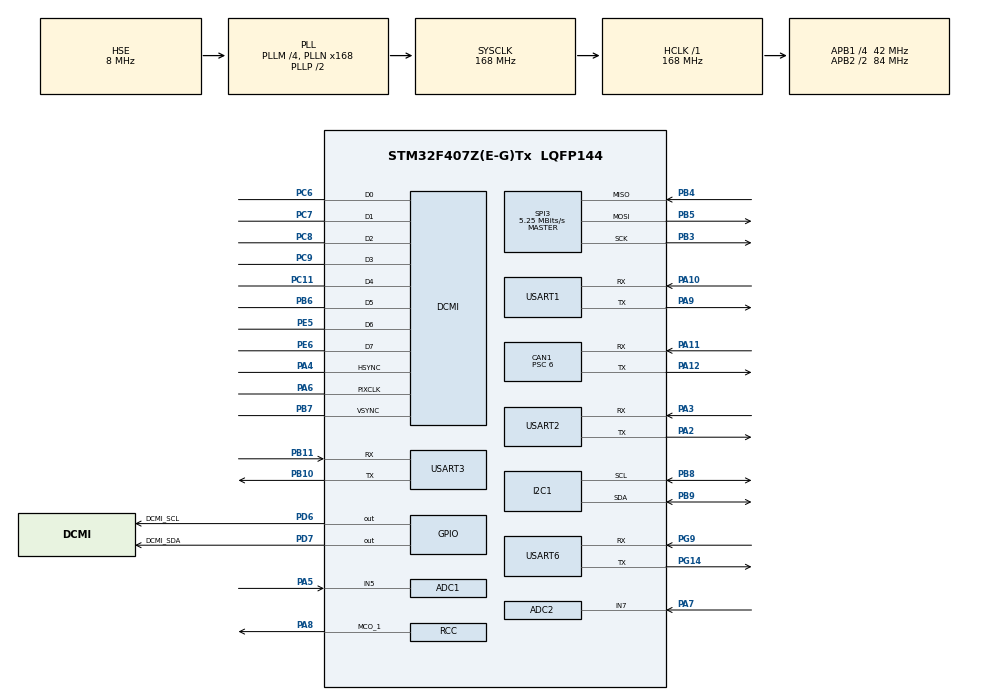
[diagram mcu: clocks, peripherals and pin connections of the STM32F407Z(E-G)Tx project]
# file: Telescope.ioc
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ADC1.Channel-1\#ChannelRegularConversion=ADC_CHANNEL_5
ADC1.ClockPrescaler=ADC_CLOCK_SYNC_PCLK_DIV8
ADC1.ContinuousConvMode=ENABLE
ADC1.NbrOfConversionFlag=1
ADC1.Rank-1\#ChannelRegularConversion=1
ADC1.SamplingTime-1\#ChannelRegularConversion=ADC_SAMPLETIME_480CYCLES
ADC1.master=1
ADC2.Channel-0\#ChannelRegularConversion=ADC_CHANNEL_7
ADC2.ClockPrescaler=ADC_CLOCK_SYNC_PCLK_DIV8
ADC2.ContinuousConvMode=ENABLE
ADC2.DMAContinuousRequests=ENABLE
ADC2.EOCSelection=ADC_EOC_SINGLE_CONV
ADC2.NbrOfConversion=1
ADC2.NbrOfConversionFlag=1
ADC2.Rank-0\#ChannelRegularConversion=1
ADC2.SamplingTime-0\#ChannelRegularConversion=ADC_SAMPLETIME_480CYCLES
CAN1.ABOM=ENABLE
CAN1.AWUM=ENABLE
CAN1.BS1=CAN_BS1_13TQ
CAN1.BS2=CAN_BS2_2TQ
CAN1.CalculateBaudRate=437500
CAN1.CalculateTimeBit=2285
CAN1.CalculateTimeQuantum=142.85714285714286
CAN1.NART=ENABLE
CAN1.Prescaler=6
CAN1.TXFP=ENABLE
DCMI.JPEGMode=DCMI_JPEG_DISABLE
DCMI.PCKPolarity=DCMI_PCKPOLARITY_RISING
Dma.ADC1.2.Direction=DMA_PERIPH_TO_MEMORY
Dma.ADC1.2.FIFOMode=DMA_FIFOMODE_DISABLE
Dma.ADC1.2.Instance=DMA2_Stream0
Dma.ADC1.2.MemDataAlignment=DMA_MDATAALIGN_HALFWORD
Dma.ADC1.2.MemInc=DMA_MINC_ENABLE
Dma.ADC1.2.Mode=DMA_CIRCULAR
Dma.ADC1.2.PeriphDataAlignment=DMA_PDATAALIGN_HALFWORD
Dma.ADC1.2.PeriphInc=DMA_PINC_DISABLE
Dma.ADC1.2.Priority=DMA_PRIORITY_MEDIUM
Dma.ADC2.0.Direction=DMA_PERIPH_TO_MEMORY
Dma.ADC2.0.FIFOMode=DMA_FIFOMODE_DISABLE
Dma.ADC2.0.Instance=DMA2_Stream3
Dma.ADC2.0.MemDataAlignment=DMA_MDATAALIGN_HALFWORD
Dma.ADC2.0.MemInc=DMA_MINC_ENABLE
Dma.ADC2.0.Mode=DMA_CIRCULAR
Dma.ADC2.0.PeriphDataAlignment=DMA_PDATAALIGN_HALFWORD
Dma.ADC2.0.PeriphInc=DMA_PINC_DISABLE
Dma.ADC2.0.Priority=DMA_PRIORITY_MEDIUM
Dma.DCMI.1.Direction=DMA_PERIPH_TO_MEMORY
Dma.DCMI.1.FIFOMode=DMA_FIFOMODE_ENABLE
Dma.DCMI.1.FIFOThreshold=DMA_FIFO_THRESHOLD_FULL
Dma.DCMI.1.Instance=DMA2_Stream1
Dma.DCMI.1.MemBurst=DMA_MBURST_SINGLE
Dma.DCMI.1.MemDataAlignment=DMA_MDATAALIGN_WORD
Dma.DCMI.1.MemInc=DMA_MINC_ENABLE
Dma.DCMI.1.Mode=DMA_CIRCULAR
Dma.DCMI.1.PeriphBurst=DMA_PBURST_SINGLE
Dma.DCMI.1.PeriphDataAlignment=DMA_PDATAALIGN_WORD
Dma.DCMI.1.PeriphInc=DMA_PINC_DISABLE
Dma.DCMI.1.Priority=DMA_PRIORITY_VERY_HIGH
Dma.Request0=ADC2
Dma.Request1=DCMI
Dma.Request2=ADC1
Dma.Request3=SPI3_RX
Dma.Request4=SPI3_TX
Dma.SPI3_RX.3.Direction=DMA_PERIPH_TO_MEMORY
Dma.SPI3_RX.3.FIFOMode=DMA_FIFOMODE_DISABLE
Dma.SPI3_RX.3.Instance=DMA1_Stream2
Dma.SPI3_RX.3.MemDataAlignment=DMA_MDATAALIGN_BYTE
Dma.SPI3_RX.3.MemInc=DMA_MINC_ENABLE
Dma.SPI3_RX.3.Mode=DMA_NORMAL
Dma.SPI3_RX.3.PeriphDataAlignment=DMA_PDATAALIGN_BYTE
Dma.SPI3_RX.3.PeriphInc=DMA_PINC_DISABLE
Dma.SPI3_RX.3.Priority=DMA_PRIORITY_HIGH
Dma.SPI3_TX.4.Direction=DMA_MEMORY_TO_PERIPH
Dma.SPI3_TX.4.FIFOMode=DMA_FIFOMODE_DISABLE
Dma.SPI3_TX.4.Instance=DMA1_Stream7
Dma.SPI3_TX.4.MemDataAlignment=DMA_MDATAALIGN_BYTE
Dma.SPI3_TX.4.MemInc=DMA_MINC_ENABLE
Dma.SPI3_TX.4.Mode=DMA_NORMAL
Dma.SPI3_TX.4.PeriphDataAlignment=DMA_PDATAALIGN_BYTE
Dma.SPI3_TX.4.PeriphInc=DMA_PINC_DISABLE
Dma.SPI3_TX.4.Priority=DMA_PRIORITY_HIGH
FREERTOS.INCLUDE_xTaskGetHandle=1
FREERTOS.Tasks01=defaultTask,24,256,StartDefaultTask,Default,NULL,Dynamic,NULL,NULL
FREERTOS.configCHECK_FOR_STACK_OVERFLOW=2
FREERTOS.configENABLE_FPU=1
FREERTOS.configGENERATE_RUN_TIME_STATS=1
FREERTOS.configMINIMAL_STACK_SIZE=256
FREERTOS.configQUEUE_REGISTRY_SIZE=10
FREERTOS.configTIMER_TASK_PRIORITY=3
FREERTOS.configTOTAL_HEAP_SIZE=60000
FREERTOS.configUSE_IDLE_HOOK=1
FREERTOS.configUSE_MALLOC_FAILED_HOOK=1
FREERTOS.configUSE_TICKLESS_IDLE=1
I2C1.GeneralCallMode=I2C_GENERALCALL_DISABLE
I2C1.I2C_Mode=I2C_Standard
IWDG.Prescaler=IWDG_PRESCALER_128
IWDG.Reload=999
Mcu.Family=STM32F4
Mcu.Name=STM32F407Z(E-G)Tx
Mcu.Package=LQFP144
NVIC.CAN1_RX0_IRQn=true\:6\:0\:true\:false\:true\:true\:true\:true\:true
NVIC.CAN1_SCE_IRQn=true\:5\:0\:false\:false\:true\:true\:true\:true\:true
NVIC.CAN1_TX_IRQn=true\:7\:0\:true\:false\:true\:true\:true\:true\:true
NVIC.DCMI_IRQn=true\:5\:0\:false\:false\:true\:true\:true\:true\:true
NVIC.DMA1_Stream2_IRQn=true\:5\:0\:false\:false\:true\:false\:false\:true\:true
NVIC.DMA1_Stream7_IRQn=true\:5\:0\:false\:false\:true\:true\:false\:true\:true
NVIC.DMA2_Stream0_IRQn=true\:9\:0\:true\:false\:true\:true\:false\:true\:true
NVIC.DMA2_Stream1_IRQn=true\:5\:0\:false\:false\:true\:true\:false\:true\:true
NVIC.DMA2_Stream3_IRQn=true\:9\:0\:true\:false\:true\:false\:false\:true\:true
NVIC.I2C1_ER_IRQn=true\:8\:0\:true\:false\:true\:true\:true\:true\:true
NVIC.I2C1_EV_IRQn=true\:8\:0\:true\:false\:true\:true\:true\:true\:true
NVIC.PriorityGroup=NVIC_PRIORITYGROUP_4
NVIC.RTC_Alarm_IRQn=true\:10\:0\:true\:false\:true\:true\:true\:true\:true
NVIC.SPI3_IRQn=true\:7\:0\:true\:false\:true\:true\:true\:true\:true
NVIC.TIM6_DAC_IRQn=true\:12\:0\:true\:false\:true\:false\:false\:true\:true
NVIC.TimeBase=TIM6_DAC_IRQn
NVIC.TimeBaseIP=TIM6
NVIC.USART1_IRQn=true\:6\:0\:true\:false\:true\:true\:false\:true\:true
NVIC.USART2_IRQn=true\:6\:0\:true\:false\:true\:true\:false\:true\:true
NVIC.USART3_IRQn=true\:6\:0\:true\:false\:true\:true\:false\:true\:true
NVIC.USART6_IRQn=true\:6\:0\:true\:false\:true\:true\:false\:true\:true
PA10.Mode=Asynchronous
PA10.Signal=USART1_RX
PA11.Mode=CAN_Activate
PA11.Signal=CAN1_RX
PA12.Mode=CAN_Activate
PA12.Signal=CAN1_TX
PA13.Mode=Serial_Wire
PA13.Signal=SYS_JTMS-SWDIO
PA14.Mode=Serial_Wire
PA14.Signal=SYS_JTCK-SWCLK
PA2.Mode=Asynchronous
PA2.Signal=USART2_TX
PA3.Mode=Asynchronous
PA3.Signal=USART2_RX
PA4.Mode=Slave_8_bits_External_Synchro
PA4.Signal=DCMI_HSYNC
PA5.Signal=ADCx_IN5
PA6.Mode=Slave_8_bits_External_Synchro
PA6.Signal=DCMI_PIXCLK
PA7.Signal=ADCx_IN7
PA8.GPIO_Speed=GPIO_SPEED_FREQ_VERY_HIGH
PA8.Mode=Clock-out-1
PA8.Signal=RCC_MCO_1
PA9.Mode=Asynchronous
PA9.Signal=USART1_TX
PB10.Mode=Asynchronous
PB10.Signal=USART3_TX
PB11.Mode=Asynchronous
PB11.Signal=USART3_RX
PB3.Mode=Full_Duplex_Master
PB3.Signal=SPI3_SCK
PB4.Mode=Full_Duplex_Master
PB4.Signal=SPI3_MISO
PB5.Mode=Full_Duplex_Master
PB5.Signal=SPI3_MOSI
PB6.Mode=Slave_8_bits_External_Synchro
PB6.Signal=DCMI_D5
PB7.Mode=Slave_8_bits_External_Synchro
PB7.Signal=DCMI_VSYNC
PB8.GPIO_Pu=GPIO_NOPULL
PB8.Mode=I2C
PB8.Signal=I2C1_SCL
PB9.GPIO_Pu=GPIO_NOPULL
PB9.Mode=I2C
PB9.Signal=I2C1_SDA
PC11.Mode=Slave_8_bits_External_Synchro
PC11.Signal=DCMI_D4
PC14-OSC32_IN.Mode=LSE-External-Oscillator
PC14-OSC32_IN.Signal=RCC_OSC32_IN
PC15-OSC32_OUT.Mode=LSE-External-Oscillator
PC15-OSC32_OUT.Signal=RCC_OSC32_OUT
PC6.Mode=Slave_8_bits_External_Synchro
PC6.Signal=DCMI_D0
PC7.Mode=Slave_8_bits_External_Synchro
PC7.Signal=DCMI_D1
PC8.Mode=Slave_8_bits_External_Synchro
PC8.Signal=DCMI_D2
PC9.Mode=Slave_8_bits_External_Synchro
PC9.Signal=DCMI_D3
PD6.GPIO_Label=DCMI_SCL
PD6.GPIO_ModeDefaultOutputPP=GPIO_MODE_OUTPUT_OD
PD6.GPIO_PuPd=GPIO_PULLUP
PD6.GPIO_Speed=GPIO_SPEED_FREQ_VERY_HIGH
PD6.PinState=GPIO_PIN_SET
PD6.Signal=GPIO_Output
PD7.GPIO_Label=DCMI_SDA
PD7.GPIO_ModeDefaultOutputPP=GPIO_MODE_OUTPUT_OD
PD7.GPIO_PuPd=GPIO_PULLUP
PD7.GPIO_Speed=GPIO_SPEED_FREQ_VERY_HIGH
PD7.PinState=GPIO_PIN_SET
PD7.Signal=GPIO_Output
PE5.Mode=Slave_8_bits_External_Synchro
PE5.Signal=DCMI_D6
PE6.Mode=Slave_8_bits_External_Synchro
PE6.Signal=DCMI_D7
PF6.Signal=S_TIM10_CH1
PF8.Signal=S_TIM13_CH1
PG14.Mode=Asynchronous
PG14.Signal=USART6_TX
PG9.Mode=Asynchronous
PG9.Signal=USART6_RX
PH0-OSC_IN.Mode=HSE-External-Oscillator
PH0-OSC_IN.Signal=RCC_OSC_IN
PH1-OSC_OUT.Mode=HSE-External-Oscillator
PH1-OSC_OUT.Signal=RCC_OSC_OUT
ProjectManager.HeapSize=0x200
ProjectManager.StackSize=0x400
ProjectManager.TargetToolchain=CMake
RCC.48MHZClocksFreq_Value=48000000
RCC.AHBFreq_Value=168000000
RCC.APB1CLKDivider=RCC_HCLK_DIV4
RCC.APB1Freq_Value=42000000
RCC.APB1TimFreq_Value=84000000
RCC.APB2CLKDivider=RCC_HCLK_DIV2
RCC.APB2Freq_Value=84000000
RCC.APB2TimFreq_Value=168000000
RCC.CortexFreq_Value=168000000
RCC.EnbaleCSS=true
RCC.HCLKFreq_Value=168000000
RCC.HSE_VALUE=8000000
RCC.HSI_VALUE=16000000
RCC.PLLM=4
RCC.PLLN=168
RCC.PLLQ=7
RCC.PLLSourceVirtual=RCC_PLLSOURCE_HSE
RCC.RCC_RTC_Clock_Source=RCC_RTCCLKSOURCE_LSE
RCC.RCC_RTC_Clock_SourceVirtual=RCC_RTCCLKSOURCE_LSE
RCC.RCC_RTC_Clock_Source_FROM_HSE=RCC_RTCCLKSOURCE_HSE_DIV9
RCC.SYSCLKFreq_VALUE=168000000
RCC.SYSCLKSource=RCC_SYSCLKSOURCE_PLLCLK
RCC.VCOOutputFreq_Value=336000000
RTC.Alarm=RTC_ALARM_A
RTC.AlarmDateWeekDaySel_B=RTC_ALARMDATEWEEKDAYSEL_DATE
RTC.AlarmMaskDateWeekDay=RTC_ALARMMASK_DATEWEEKDAY
RTC.AlarmMaskDateWeekDay_B=RTC_ALARMMASK_DATEWEEKDAY
RTC.AlarmMaskHours=RTC_ALARMMASK_HOURS
RTC.AlarmMaskMinutes=RTC_ALARMMASK_MINUTES
RTC.Alarm_B=RTC_ALARM_B
RTC.Hours_A=0
RTC.Hours_B=7
RTC.Seconds_A=1
SH.ADCx_IN5.0=ADC1_IN5,IN5
SH.ADCx_IN7.0=ADC2_IN7,IN7
SH.S_TIM10_CH1.0=TIM10_CH1
SH.S_TIM13_CH1.0=TIM13_CH1
SPI3.BaudRatePrescaler=SPI_BAUDRATEPRESCALER_8
SPI3.CRCCalculation=SPI_CRCCALCULATION_DISABLE
SPI3.CalculateBaudRate=5.25 MBits/s
SPI3.Direction=SPI_DIRECTION_2LINES
SPI3.Mode=SPI_MODE_MASTER
SPI3.VirtualType=VM_MASTER
USART1.VirtualMode=VM_ASYNC
USART2.VirtualMode=VM_ASYNC
USART3.VirtualMode=VM_ASYNC
USART6.VirtualMode=VM_ASYNC
VP_CRC_VS_CRC.Mode=CRC_Activate
VP_FREERTOS_VS_CMSIS_V2.Mode=CMSIS_V2
VP_IWDG_VS_IWDG.Mode=IWDG_Activate
VP_RNG_VS_RNG.Mode=RNG_Activate
VP_RTC_VS_RTC_Activate.Mode=RTC_Enabled
VP_RTC_VS_RTC_Alarm_A_Intern.Mode=Alarm A
VP_RTC_VS_RTC_Alarm_B_Intern.Mode=Alarm B
VP_RTC_VS_RTC_Calendar.Mode=RTC_Calendar
VP_SYS_VS_tim6.Mode=TIM6
board=custom

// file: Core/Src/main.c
/* USER CODE BEGIN Header */
/**
  ******************************************************************************
  * @file           : main.c
  * @brief          : Main program body
  ******************************************************************************
  * @attention
  *
  * Copyright (c) 2026 STMicroelectronics.
  * All rights reserved.
  *
  * This software is licensed under terms that can be found in the LICENSE file
  * in the root directory of this software component.
  * If no LICENSE file comes with this software, it is provided AS-IS.
  *
  ******************************************************************************
  */
/* USER CODE END Header */
#include "main.h"
#include "cmsis_os2.h"
#include "adc.h"
#include "can.h"
#include "crc.h"
#include "dcmi.h"
#include "dma.h"
#include "i2c.h"
#include "iwdg.h"
#include "rng.h"
#include "rtc.h"
#include "spi.h"
#include "usart.h"
#include "gpio.h"

/* USER CODE BEGIN Includes */
#include "sram.h"
/* USER CODE END Includes */

void SystemClock_Config(void);
void MX_FREERTOS_Init(void);

int main(void)
{

  /* MCU Configuration--------------------------------------------------------*/

  /* Reset of all peripherals, Initializes the Flash interface and the Systick. */
  HAL_Init();

  /* Configure the system clock */
  SystemClock_Config();

  /* Initialize all configured peripherals */
  MX_GPIO_Init();
  MX_DMA_Init();
  MX_I2C1_Init();
  MX_IWDG_Init();
  MX_RTC_Init();
  MX_SPI3_Init();
  MX_USART1_UART_Init();
  MX_USART2_UART_Init();
  MX_USART3_UART_Init();
  MX_USART6_UART_Init();
  MX_ADC1_Init();
  MX_ADC2_Init();
  MX_CRC_Init();
  MX_DCMI_Init();
  MX_RNG_Init();
  MX_CAN1_Init();
  /* USER CODE BEGIN 2 */
  SRAM_Init();
  /* USER CODE END 2 */

  /* Init scheduler */
  osKernelInitialize();

  /* Call init function for freertos objects (in cmsis_os2.c) */
  MX_FREERTOS_Init();

  /* Start scheduler */
  osKernelStart();

  /* We should never get here as control is now taken by the scheduler */

  /* Infinite loop */
  while (1)
  {

  }
}

void SystemClock_Config(void)
{
  RCC_OscInitTypeDef RCC_OscInitStruct = {0};
  RCC_ClkInitTypeDef RCC_ClkInitStruct = {0};

  /** Configure the main internal regulator output voltage
  */
  __HAL_RCC_PWR_CLK_ENABLE();
  __HAL_PWR_VOLTAGESCALING_CONFIG(PWR_REGULATOR_VOLTAGE_SCALE1);

  /** Initializes the RCC Oscillators according to the specified parameters
  * in the RCC_OscInitTypeDef structure.
  */
  RCC_OscInitStruct.OscillatorType = RCC_OSCILLATORTYPE_HSI|RCC_OSCILLATORTYPE_LSI
                              |RCC_OSCILLATORTYPE_HSE|RCC_OSCILLATORTYPE_LSE;
  RCC_OscInitStruct.HSEState = RCC_HSE_ON;
  RCC_OscInitStruct.LSEState = RCC_LSE_ON;
  RCC_OscInitStruct.HSIState = RCC_HSI_ON;
  RCC_OscInitStruct.HSICalibrationValue = RCC_HSICALIBRATION_DEFAULT;
  RCC_OscInitStruct.LSIState = RCC_LSI_ON;
  RCC_OscInitStruct.PLL.PLLState = RCC_PLL_ON;
  RCC_OscInitStruct.PLL.PLLSource = RCC_PLLSOURCE_HSE;
  RCC_OscInitStruct.PLL.PLLM = 4;
  RCC_OscInitStruct.PLL.PLLN = 168;
  RCC_OscInitStruct.PLL.PLLP = RCC_PLLP_DIV2;
  RCC_OscInitStruct.PLL.PLLQ = 7;
  if (HAL_RCC_OscConfig(&RCC_OscInitStruct) != HAL_OK)
  {
    Error_Handler();
  }

  /** Initializes the CPU, AHB and APB buses clocks
  */
  RCC_ClkInitStruct.ClockType = RCC_CLOCKTYPE_HCLK|RCC_CLOCKTYPE_SYSCLK
                              |RCC_CLOCKTYPE_PCLK1|RCC_CLOCKTYPE_PCLK2;
  RCC_ClkInitStruct.SYSCLKSource = RCC_SYSCLKSOURCE_PLLCLK;
  RCC_ClkInitStruct.AHBCLKDivider = RCC_SYSCLK_DIV1;
  RCC_ClkInitStruct.APB1CLKDivider = RCC_HCLK_DIV4;
  RCC_ClkInitStruct.APB2CLKDivider = RCC_HCLK_DIV2;

  if (HAL_RCC_ClockConfig(&RCC_ClkInitStruct, FLASH_LATENCY_5) != HAL_OK)
  {
    Error_Handler();
  }
  HAL_RCC_MCOConfig(RCC_MCO1, RCC_MCO1SOURCE_HSI, RCC_MCODIV_1);

  /** Enables the Clock Security System
  */
  HAL_RCC_EnableCSS();
}

void HAL_TIM_PeriodElapsedCallback(TIM_HandleTypeDef *htim)
{
  if (htim->Instance == TIM6) {
    HAL_IncTick();
  }
}

void Error_Handler(void)
{
  __disable_irq();
  while (1)
  {
  }
}

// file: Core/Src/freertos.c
/* USER CODE BEGIN Header */
/**
  ******************************************************************************
  * File Name          : freertos.c
  * Description        : Code for freertos applications
  ******************************************************************************
  * @attention
  *
  * Copyright (c) 2026 STMicroelectronics.
  * All rights reserved.
  *
  * This software is licensed under terms that can be found in the LICENSE file
  * in the root directory of this software component.
  * If no LICENSE file comes with this software, it is provided AS-IS.
  *
  ******************************************************************************
  */
/* USER CODE END Header */

#include "FreeRTOS.h"
#include "cmsis_os2.h"
#include "task.h"
#include "main.h"
#include "cmsis_os.h"

/* USER CODE BEGIN Includes */
#include "tftlcd.h"
#include "iwdg.h"
#include "getdata.h"
#include "ui.h"
#include "usart2task.h"
#include "cameratask.h"
#include "sram.h"
#include "eeprom.h"
#include "flash.h"
#include <stdio.h>

/* USER CODE END Includes */

/* USER CODE BEGIN Variables */
osThreadId_t lcdTaskHandle;
const osThreadAttr_t lcdTask_attributes = {
  .name = "lcdTask",
  .stack_size = 512 * 4,
  .priority = (osPriority_t) osPriorityNormal,
};

osThreadId_t iwdgTaskHandle;
const osThreadAttr_t iwdgTask_attributes = {
  .name = "iwdgTask",
  .stack_size = 128 * 4,
  .priority = (osPriority_t) osPriorityHigh,
};

osThreadId_t getdataTaskHandle;
const osThreadAttr_t getdataTask_attributes = {
  .name = "getdataTask",
  .stack_size = 256 * 4,
  .priority = (osPriority_t) osPriorityNormal,
};

osThreadId_t usart2TaskHandle;
const osThreadAttr_t usart2Task_attributes = {
  .name = "usart2Task",
  .stack_size = 256 * 4,
  .priority = (osPriority_t) osPriorityNormal,
};

osThreadId_t usart3TaskHandle;
const osThreadAttr_t usart3Task_attributes = {
  .name = "usart3Task",
  .stack_size = 256 * 4,
  .priority = (osPriority_t) osPriorityNormal,
};

osThreadId_t cameraTaskHandle;
const osThreadAttr_t cameraTask_attributes = {
  .name = "cameraTask",
  .stack_size = 512 * 4,
  .priority = (osPriority_t) osPriorityHigh,
};

osThreadId_t sramTestTaskHandle;
const osThreadAttr_t sramTestTask_attributes = {
  .name = "sramTestTask",
  .stack_size = 256 * 4,
  .priority = (osPriority_t) osPriorityBelowNormal,
};

osThreadId_t eepromTestTaskHandle;
const osThreadAttr_t eepromTestTask_attributes = {
  .name = "eepromTestTask",
  .stack_size = 256 * 4,
  .priority = (osPriority_t) osPriorityBelowNormal,
};

osThreadId_t flashTestTaskHandle;
const osThreadAttr_t flashTestTask_attributes = {
  .name = "flashTestTask",
  .stack_size = 512 * 4,
  .priority = (osPriority_t) osPriorityBelowNormal,
};

/* USER CODE END Variables */
/* Definitions for defaultTask */
osThreadId_t defaultTaskHandle;
const osThreadAttr_t defaultTask_attributes = {
  .name = "defaultTask",
  .stack_size = 256 * 4,
  .priority = (osPriority_t) osPriorityNormal,
};

/* USER CODE BEGIN FunctionPrototypes */
void LcdDisplayTask(void *argument);
void IwdgFeedTask(void *argument);
void GetDataTask(void *argument);
void Usart2Task(void *argument);
void Usart3Task(void *argument);

void CameraTask(void *argument);
void SramTestTask(void *argument);
void EepromTestTask(void *argument);
void FlashTestTask(void *argument);

void StartDefaultTask(void *argument);

void MX_FREERTOS_Init(void); /* (MISRA C 2004 rule 8.1) */

/* Hook prototypes */
void configureTimerForRunTimeStats(void);
unsigned long getRunTimeCounterValue(void);
void vApplicationIdleHook(void);
void vApplicationStackOverflowHook(xTaskHandle xTask, signed char *pcTaskName);
void vApplicationMallocFailedHook(void);

/* USER CODE BEGIN 1 */
/* Functions needed when configGENERATE_RUN_TIME_STATS is on */
__weak void configureTimerForRunTimeStats(void)
{

}

__weak unsigned long getRunTimeCounterValue(void)
{
return 0;
}
/* USER CODE END 1 */

/* USER CODE BEGIN 2 */
void vApplicationIdleHook( void )
{
   /* vApplicationIdleHook() will only be called if configUSE_IDLE_HOOK is set
   to 1 in FreeRTOSConfig.h. It will be called on each iteration of the idle
   task. It is essential that code added to this hook function never attempts
   to block in any way (for example, call xQueueReceive() with a block time
   specified, or call vTaskDelay()). If the application makes use of the
   vTaskDelete() API function (as this demo application does) then it is also
   important that vApplicationIdleHook() is permitted to return to its calling
   function, because it is the responsibility of the idle task to clean up
   memory allocated by the kernel to any task that has since been deleted. */
}
/* USER CODE END 2 */

/* USER CODE BEGIN 4 */
void vApplicationStackOverflowHook(xTaskHandle xTask, signed char *pcTaskName)
{
   /* Run time stack overflow checking is performed if
   configCHECK_FOR_STACK_OVERFLOW is defined to 1 or 2. This hook function is
   called if a stack overflow is detected. */
}
/* USER CODE END 4 */

/* USER CODE BEGIN 5 */
void vApplicationMallocFailedHook(void)
{
   /* vApplicationMallocFailedHook() will only be called if
   configUSE_MALLOC_FAILED_HOOK is set to 1 in FreeRTOSConfig.h. It is a hook
   function that will get called if a call to pvPortMalloc() fails.
   pvPortMalloc() is called internally by the kernel whenever a task, queue,
   timer or semaphore is created. It is also called by various parts of the
   demo application. If heap_1.c or heap_2.c are used, then the size of the
   heap available to pvPortMalloc() is defined by configTOTAL_HEAP_SIZE in
   FreeRTOSConfig.h, and the xPortGetFreeHeapSize() API function can be used
   to query the size of free heap space that remains (although it does not
   provide information on how the remaining heap might be fragmented). */
}
/* USER CODE END 5 */

/* USER CODE BEGIN PREPOSTSLEEP */
__weak void PreSleepProcessing(uint32_t ulExpectedIdleTime)
{
/* place for user code */
}

__weak void PostSleepProcessing(uint32_t ulExpectedIdleTime)
{
/* place for user code */
}
/* USER CODE END PREPOSTSLEEP */

void MX_FREERTOS_Init(void) {

  /* Create the thread(s) */
  /* creation of defaultTask */
  defaultTaskHandle = osThreadNew(StartDefaultTask, NULL, &defaultTask_attributes);

  /* USER CODE BEGIN RTOS_THREADS */
  lcdTaskHandle = osThreadNew(LcdDisplayTask, NULL, &lcdTask_attributes);
  iwdgTaskHandle = osThreadNew(IwdgFeedTask, NULL, &iwdgTask_attributes);
  getdataTaskHandle = osThreadNew(GetDataTask, NULL, &getdataTask_attributes);
  usart2TaskHandle = osThreadNew(Usart2Task, NULL, &usart2Task_attributes);
  usart3TaskHandle = osThreadNew(Usart3Task, NULL, &usart3Task_attributes);
  //cameraTaskHandle = osThreadNew(CameraTask, NULL, &cameraTask_attributes);
  sramTestTaskHandle = osThreadNew(SramTestTask, NULL, &sramTestTask_attributes);
  eepromTestTaskHandle = osThreadNew(EepromTestTask, NULL, &eepromTestTask_attributes);
  flashTestTaskHandle = osThreadNew(FlashTestTask, NULL, &flashTestTask_attributes);

  /* USER CODE END RTOS_THREADS */

}

void StartDefaultTask(void *argument)
{
  for(;;)
  {
    osDelay(1);
  }
}

/* USER CODE BEGIN Application */

/**
 * @brief  看门狗喂狗任务：周期性刷新 IWDG，防止系统复位
 *         IWDG 配置: 预分频128, 重装载999 → 超时约 4s
 *         喂狗周期设为 1s，留有充足裕量
 */
void IwdgFeedTask(void *argument)
{
  for (;;)
  {
    HAL_IWDG_Refresh(&hiwdg);
    osDelay(1000);
  }
}

/**
 * @brief  SRAM 测试任务
 *         初始化 SRAM 并执行读写自检，结果显示在 LCD 上
 *         测试完成后自动删除任务
 */
void SramTestTask(void *argument)
{
    char msg[40];
    uint32_t testedSize = 0;

    /* 等待 LCD 初始化完成 */
    osDelay(500);

    lcd_show_string(10, 600, 460, 24, 24, "SRAM Testing...", BLUE);

    uint8_t result = SRAM_Test(&testedSize);

    if (result == 0)
    {
        if (testedSize >= 1024)
            sprintf(msg, "SRAM Test: PASS (%luMB)", testedSize / 1024);
        else
            sprintf(msg, "SRAM Test: PASS (%luKB)", testedSize);
        lcd_show_string(10, 630, 460, 24, 24, msg, GREEN);
    }
    else
    {
        lcd_show_string(10, 630, 460, 24, 24, "SRAM Test: FAIL !!!", RED);
    }

    /* 测试完成，删除自身 */
    osThreadTerminate(osThreadGetId());
}

/**
 * @brief  EEPROM (AT24C02) 读写测试任务
 *         执行写入/回读自检，结果显示在 LCD 上
 *         测试完成后自动删除任务
 */
void EepromTestTask(void *argument)
{
    char msg[40];
    uint16_t testedSize = 0;

    /* 等待 LCD 初始化完成 */
    osDelay(500);

    lcd_show_string(10, 660, 460, 24, 24, "EEPROM Testing...", BLUE);

    uint8_t result = AT24C02_Test(&testedSize);

    if (result == 0)
    {
        sprintf(msg, "EEPROM Test: PASS (%dB)", testedSize);
        lcd_show_string(10, 690, 460, 24, 24, msg, GREEN);
    }
    else
    {
        lcd_show_string(10, 690, 460, 24, 24, "EEPROM Test: FAIL !!!", RED);
    }

    /* 测试完成，删除自身 */
    osThreadTerminate(osThreadGetId());
}

/**
 * @brief  SPI Flash (W25Q128) 读写测试任务
 *         执行 ID 校验 + 擦写回读自检，结果显示在 LCD 上
 *         测试完成后自动删除任务
 */
void FlashTestTask(void *argument)
{
    char msg[40];
    uint32_t testedSize = 0;

    /* 等待 LCD 初始化完成 */
    osDelay(500);

    lcd_show_string(10, 720, 460, 24, 24, "Flash Testing...", BLUE);

    /* 初始化驱动（含 PB14 CS GPIO 配置） */
    W25Q128_Init();

    uint8_t result = W25Q128_Test(&testedSize);

    if (result == 0)
    {
        if (testedSize >= 1024)
            sprintf(msg, "Flash Test: PASS (%luMB)", testedSize / 1024);
        else
            sprintf(msg, "Flash Test: PASS (%luKB)", testedSize);
        lcd_show_string(10, 750, 460, 24, 24, msg, GREEN);
    }
    else if (result == 1)
    {
        lcd_show_string(10, 750, 460, 24, 24, "Flash Test: FAIL (ID ERR)", RED);
    }
    else
    {
        lcd_show_string(10, 750, 460, 24, 24, "Flash Test: FAIL (R/W ERR)", RED);
    }

    /* 测试完成，删除自身 */
    osThreadTerminate(osThreadGetId());
}

/* USER CODE END Application */
